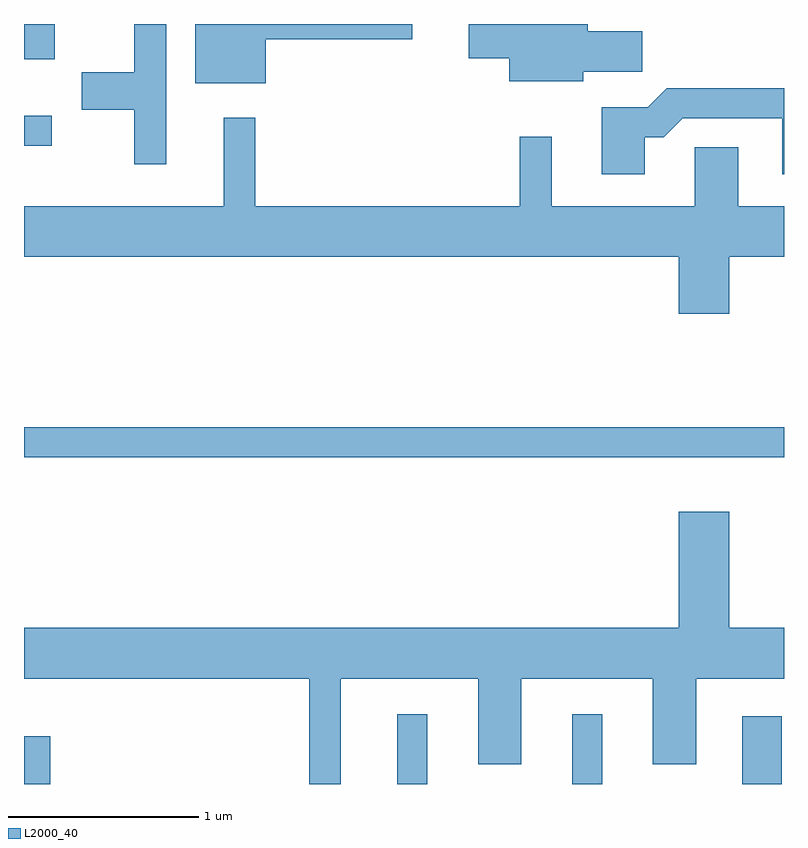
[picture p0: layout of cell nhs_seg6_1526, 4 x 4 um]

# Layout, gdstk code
import gdstk
lib = gdstk.Library(unit=1e-6, precision=1e-09)
def R(c, l, rs):  # rectangles x0, y0, x1, y1
    for r in rs: c.add(gdstk.rectangle(r[:2], r[2:], *l))
def P(c, l, *ps):  # polygons
    for p in ps: c.add(gdstk.Polygon(p, *l))
L2000_40 = (2000, 40)

nhs_seg6_1526 = lib.new_cell('nhs_seg6_1526')
R(nhs_seg6_1526, L2000_40, [(231.611,1536.162,231.749,1536.414), (233.576,1536.162,233.734,1536.528), (234.496,1536.162,234.654,1536.528), (235.391,1536.162,235.599,1536.519), (231.611,1537.881,235.611,1538.039), (231.611,1539.521,231.758,1539.679), (231.611,1539.976,231.774,1540.162)])
P(nhs_seg6_1526, L2000_40, [(232.884,1540.081),(233.654,1540.081),(233.654,1540.162),(232.511,1540.162),(232.511,1539.851),(232.884,1539.851)],
  [(234.554,1539.911),(234.864,1539.911),(234.864,1540.124),(234.579,1540.124),(234.579,1540.162),(233.951,1540.162),(233.951,1539.981),(234.166,1539.981),(234.166,1539.861),(234.554,1539.861)],
  [(232.359,1540.162),(232.191,1540.162),(232.191,1539.909),(231.916,1539.909),(231.916,1539.711),(232.191,1539.711),(232.191,1539.423),(232.359,1539.423)],
  [(234.879,1539.566),(234.977,1539.566),(235.077,1539.666),(235.601,1539.666),(235.601,1539.371),(235.611,1539.371),(235.611,1539.824),(234.994,1539.824),(234.894,1539.724),(234.651,1539.724),(234.651,1539.371),(234.879,1539.371)],
  [(235.324,1538.936),(235.611,1538.936),(235.611,1539.204),(235.369,1539.204),(235.369,1539.514),(235.141,1539.514),(235.141,1539.204),(234.389,1539.204),(234.389,1539.568),(234.221,1539.568),(234.221,1539.204),(232.829,1539.204),(232.829,1539.668),(232.661,1539.668),(232.661,1539.204),(231.611,1539.204),(231.611,1538.936),(235.056,1538.936),(235.056,1538.636),(235.324,1538.636)],
  [(233.279,1536.716),(234.001,1536.716),(234.001,1536.266),(234.229,1536.266),(234.229,1536.716),(234.921,1536.716),(234.921,1536.266),(235.149,1536.266),(235.149,1536.716),(235.611,1536.716),(235.611,1536.984),(235.324,1536.984),(235.324,1537.594),(235.056,1537.594),(235.056,1536.984),(231.611,1536.984),(231.611,1536.716),(233.111,1536.716),(233.111,1536.162),(233.279,1536.162)])

lib.write_gds('nhs_seg6_1526.gds')
